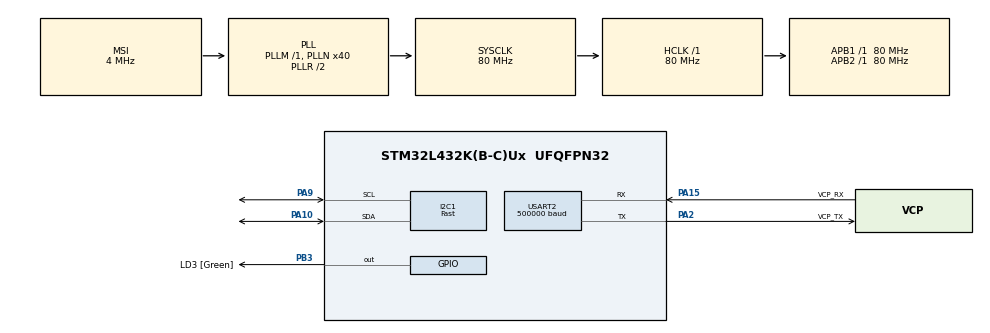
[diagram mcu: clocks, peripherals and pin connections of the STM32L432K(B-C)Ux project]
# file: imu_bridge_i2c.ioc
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I2C1.I2C_Speed_Mode=I2C_Fast
I2C1.Timing=0x00702991
Mcu.Family=STM32L4
Mcu.Name=STM32L432K(B-C)Ux
Mcu.Package=UFQFPN32
NVIC.PriorityGroup=NVIC_PRIORITYGROUP_4
NVIC.TIM2_IRQn=true\:0\:0\:false\:false\:true\:true\:true\:true
NVIC.TIM6_DAC_IRQn=true\:0\:0\:false\:false\:true\:true\:true\:true
NVIC.TIM7_IRQn=true\:0\:0\:false\:false\:true\:true\:true\:true
PA0.GPIO_Label=MCO [High speed clock in]
PA0.Mode=HSE-External-Clock-Source-for-LittleOrca
PA0.Signal=RCC_CK_IN
PA10.Mode=I2C
PA10.Signal=I2C1_SDA
PA13\ (JTMS-SWDIO).GPIO_Label=SWDIO
PA13\ (JTMS-SWDIO).Mode=Serial_Wire
PA13\ (JTMS-SWDIO).Signal=SYS_JTMS-SWDIO
PA14\ (JTCK-SWCLK).GPIO_Label=SWCLK
PA14\ (JTCK-SWCLK).Mode=Serial_Wire
PA14\ (JTCK-SWCLK).Signal=SYS_JTCK-SWCLK
PA15\ (JTDI).GPIO_Label=VCP_RX
PA15\ (JTDI).Mode=Asynchronous
PA15\ (JTDI).Signal=USART2_RX
PA2.GPIO_Label=VCP_TX
PA2.Mode=Asynchronous
PA2.Signal=USART2_TX
PA9.Mode=I2C
PA9.Signal=I2C1_SCL
PB3\ (JTDO-TRACESWO).GPIO_Label=LD3 [Green]
PB3\ (JTDO-TRACESWO).Signal=GPIO_Output
PC14-OSC32_IN\ (PC14).Mode=LSE-External-Oscillator
PC14-OSC32_IN\ (PC14).Signal=RCC_OSC32_IN
PC15-OSC32_OUT\ (PC15).Mode=LSE-External-Oscillator
PC15-OSC32_OUT\ (PC15).Signal=RCC_OSC32_OUT
ProjectManager.HeapSize=0x200
ProjectManager.StackSize=0x400
ProjectManager.TargetToolchain=STM32CubeIDE
RCC.AHBFreq_Value=80000000
RCC.APB1Freq_Value=80000000
RCC.APB1TimFreq_Value=80000000
RCC.APB2Freq_Value=80000000
RCC.APB2TimFreq_Value=80000000
RCC.CortexFreq_Value=80000000
RCC.HCLKFreq_Value=80000000
RCC.HSE_VALUE=8000000
RCC.HSI16_VALUE=16000000
RCC.HSI48_VALUE=48000000
RCC.HSI_VALUE=16000000
RCC.MSI_VALUE=4000000
RCC.PLLMUL=RCC_PLLMUL_4
RCC.PLLN=40
RCC.SYSCLKFreq_VALUE=80000000
RCC.SYSCLKSource=RCC_SYSCLKSOURCE_PLLCLK
RCC.VCOOutputFreq_Value=160000000
TIM2.Period=1000 - 1
TIM2.Prescaler=80 - 1
TIM6.Period=1000 - 1
TIM6.Prescaler=80 - 1
TIM7.Period=10000 - 1
TIM7.Prescaler=80 - 1
USART2.BaudRate=500000
USART2.VirtualMode-Asynchronous=VM_ASYNC
VP_TIM2_VS_ClockSourceINT.Mode=Internal
VP_TIM6_VS_ClockSourceINT.Mode=Enable_Timer
VP_TIM7_VS_ClockSourceINT.Mode=Enable_Timer
board=NUCLEO-L432KC

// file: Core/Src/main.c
/* USER CODE BEGIN Header */
/**
  ******************************************************************************
  * @file           : main.c
  * @brief          : Main program body
  ******************************************************************************
  * @attention
  *
  * Copyright (c) 2024 STMicroelectronics.
  * All rights reserved.
  *
  * This software is licensed under terms that can be found in the LICENSE file
  * in the root directory of this software component.
  * If no LICENSE file comes with this software, it is provided AS-IS.
  *
  ******************************************************************************
  */
/* USER CODE END Header */
#include "main.h"
#include "i2c.h"
#include "tim.h"
#include "usart.h"
#include "gpio.h"

/* USER CODE BEGIN Includes */
#include <stdbool.h>
#include "driver_mpu9250_basic.h"
/* USER CODE END Includes */

void SystemClock_Config(void);
/* USER CODE BEGIN PFP */
void HAL_TIM_PeriodElapsedCallback(TIM_HandleTypeDef* htim);
bool read_acc;
bool read_gyro;
bool read_mag;
/* USER CODE END PFP */

int main(void)
{

  /* MCU Configuration--------------------------------------------------------*/

  /* Reset of all peripherals, Initializes the Flash interface and the Systick. */
  HAL_Init();

  /* Configure the system clock */
  SystemClock_Config();

  /* Initialize all configured peripherals */
  MX_GPIO_Init();
  MX_USART2_UART_Init();
  MX_I2C1_Init();
  MX_TIM2_Init();
  MX_TIM6_Init();
  MX_TIM7_Init();
  /* USER CODE BEGIN 2 */
  mpu9250_address_t addr = MPU9250_ADDRESS_AD0_LOW;
  HAL_Delay(100);
  uint8_t res = mpu9250_basic_init(MPU9250_INTERFACE_IIC, addr);
  float measurements[9];
  HAL_TIM_Base_Start_IT(&htim2);
  /* USER CODE END 2 */

  /* Infinite loop */
  /* USER CODE BEGIN WHILE */
  while (1)
  {
	uint8_t start_byte = '$';
	if (read_acc) {
		read_acc = false;
		if (mpu9250_basic_read(measurements, measurements + 3, measurements + 6) != 0)
		{
			(void)mpu9250_basic_deinit();
			return 1;
		}
	HAL_UART_Transmit(&huart2, &start_byte, 1, 100);
	HAL_UART_Transmit(&huart2, (uint8_t*)measurements, sizeof(measurements), 100);
	}
    /* USER CODE END WHILE */

  }
}

void SystemClock_Config(void)
{
  RCC_OscInitTypeDef RCC_OscInitStruct = {0};
  RCC_ClkInitTypeDef RCC_ClkInitStruct = {0};

  /** Configure the main internal regulator output voltage
  */
  if (HAL_PWREx_ControlVoltageScaling(PWR_REGULATOR_VOLTAGE_SCALE1) != HAL_OK)
  {
    Error_Handler();
  }

  /** Configure LSE Drive Capability
  */
  HAL_PWR_EnableBkUpAccess();
  __HAL_RCC_LSEDRIVE_CONFIG(RCC_LSEDRIVE_LOW);

  /** Initializes the RCC Oscillators according to the specified parameters
  * in the RCC_OscInitTypeDef structure.
  */
  RCC_OscInitStruct.OscillatorType = RCC_OSCILLATORTYPE_LSE|RCC_OSCILLATORTYPE_MSI;
  RCC_OscInitStruct.LSEState = RCC_LSE_ON;
  RCC_OscInitStruct.MSIState = RCC_MSI_ON;
  RCC_OscInitStruct.MSICalibrationValue = 0;
  RCC_OscInitStruct.MSIClockRange = RCC_MSIRANGE_6;
  RCC_OscInitStruct.PLL.PLLState = RCC_PLL_ON;
  RCC_OscInitStruct.PLL.PLLSource = RCC_PLLSOURCE_MSI;
  RCC_OscInitStruct.PLL.PLLM = 1;
  RCC_OscInitStruct.PLL.PLLN = 40;
  RCC_OscInitStruct.PLL.PLLP = RCC_PLLP_DIV7;
  RCC_OscInitStruct.PLL.PLLQ = RCC_PLLQ_DIV2;
  RCC_OscInitStruct.PLL.PLLR = RCC_PLLR_DIV2;
  if (HAL_RCC_OscConfig(&RCC_OscInitStruct) != HAL_OK)
  {
    Error_Handler();
  }

  /** Initializes the CPU, AHB and APB buses clocks
  */
  RCC_ClkInitStruct.ClockType = RCC_CLOCKTYPE_HCLK|RCC_CLOCKTYPE_SYSCLK
                              |RCC_CLOCKTYPE_PCLK1|RCC_CLOCKTYPE_PCLK2;
  RCC_ClkInitStruct.SYSCLKSource = RCC_SYSCLKSOURCE_PLLCLK;
  RCC_ClkInitStruct.AHBCLKDivider = RCC_SYSCLK_DIV1;
  RCC_ClkInitStruct.APB1CLKDivider = RCC_HCLK_DIV1;
  RCC_ClkInitStruct.APB2CLKDivider = RCC_HCLK_DIV1;

  if (HAL_RCC_ClockConfig(&RCC_ClkInitStruct, FLASH_LATENCY_4) != HAL_OK)
  {
    Error_Handler();
  }

  /** Enable MSI Auto calibration
  */
  HAL_RCCEx_EnableMSIPLLMode();
}

/* USER CODE BEGIN 4 */
void HAL_TIM_PeriodElapsedCallback(TIM_HandleTypeDef* htim) {
	read_acc = true;
}

/* USER CODE END 4 */

void Error_Handler(void)
{
  __disable_irq();
  while (1)
  {
  }
}
